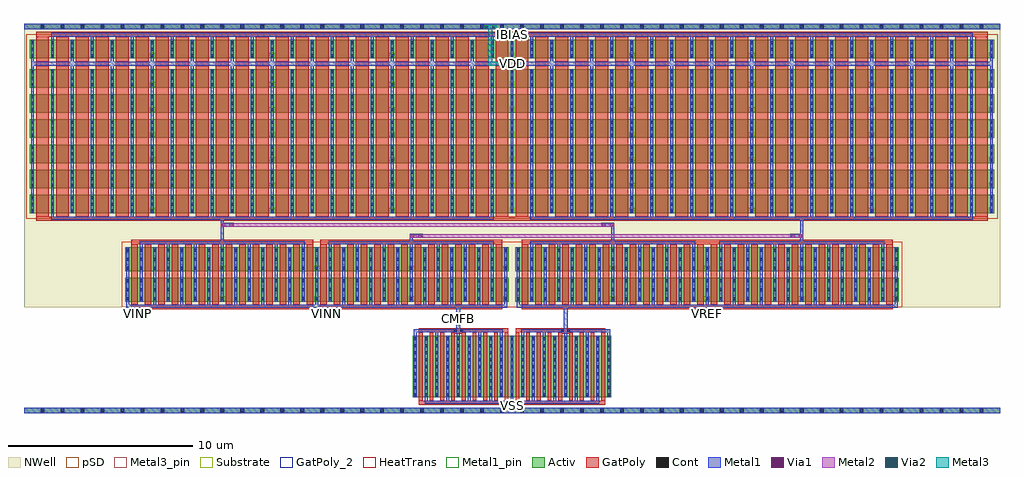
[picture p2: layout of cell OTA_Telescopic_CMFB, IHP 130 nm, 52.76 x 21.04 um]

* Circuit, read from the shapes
.subckt OTA_Telescopic_CMFB CMFB IBIAS VDD VINN VINP VREF VSS
XM1 VSS CMFB CMFB VSS sg13_lv_nmos w=3.33u l=0.2u m=9
XM2 n1 n1 VSS VSS sg13_lv_nmos w=3.33u l=0.2u m=9
XM3 n2 IBIAS VDD VDD sg13_lv_pmos w=1u l=0.7u m=144
XM4 IBIAS IBIAS VDD VDD sg13_lv_pmos w=1u l=0.7u m=48
XM5 n2 VINP CMFB VDD sg13_lv_pmos w=1.285u l=0.35u m=28
XM6 n3 VINN CMFB VDD sg13_lv_pmos w=1.285u l=0.35u m=28
XM7 n3 IBIAS VDD VDD sg13_lv_pmos w=1u l=0.7u m=144
XM8 n2 VREF n1 VDD sg13_lv_pmos w=1.285u l=0.35u m=28
XM9 n3 VREF n1 VDD sg13_lv_pmos w=1.285u l=0.35u m=28
.ends

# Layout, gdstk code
import gdstk
lib = gdstk.Library(unit=1e-6, precision=1e-09)
def R(c, l, rs):  # rectangles x0, y0, x1, y1
    for r in rs: c.add(gdstk.rectangle(r[:2], r[2:], *l))
def A(c, l, x, y, w, h, nx, ny, dx, dy):  # array of equal rectangles
    R(c, l, [(x+i*dx, y+j*dy, x+i*dx+w, y+j*dy+h) for i in range(nx) for j in range(ny)])
Activ = (1, 0)
GatPoly = (5, 0)
GatPoly_2 = (5, 2)
Cont = (6, 0)
Metal1 = (8, 0)
Metal1_pin = (8, 2)
Metal2 = (10, 0)
pSD = (14, 0)
Via1 = (19, 0)
Via2 = (29, 0)
Metal3 = (30, 0)
Metal3_pin = (30, 2)
NWell = (31, 0)
Substrate = (40, 0)
HeatTrans = (51, 0)

pmos_1 = lib.new_cell('pmos$1')
A(pmos_1, Activ, 0, 0, 0.3, 0.3, 8, 1, 0.73, 0)
R(pmos_1, Activ, [(0,0,5.41,1.285)])
A(pmos_1, GatPoly, 0.34, -0.18, 0.35, 1.645, 7, 1, 0.73, 0)
R(pmos_1, GatPoly, [(0.34,-0.18,0.69,1.465)])
A(pmos_1, Cont, 0.07, 0.07, 0.16, 0.16, 8, 2, 0.73, 0.49)
A(pmos_1, Cont, 0.07, 1.055, 0.16, 0.16, 8, 1, 0.73, 0)
A(pmos_1, Metal1, 0.8, 0, 0.16, 1.285, 7, 1, 0.73, 0)
R(pmos_1, Metal1, [(0.07,0,0.23,1.285), (0.07,0,0.23,1.285), (0.8,0,0.96,1.285)])
R(pmos_1, pSD, [(-0.18,-0.3,5.59,1.585)])
R(pmos_1, NWell, [(-0.31,-0.31,5.72,1.595)])
R(pmos_1, Substrate, [(5.11,0,5.41,0.3)])
A(pmos_1, HeatTrans, 0.34, -0.18, 0.35, 1.645, 7, 1, 0.73, 0)
pmos_1.add(gdstk.Label('pmos', (0.515,0.643), layer=63, texttype=0))
pmos_1.add(gdstk.Label('pmos', (0.515,0.643), layer=51, texttype=0))
pmos_1.add(gdstk.Label('pmos', (1.245,0.643), layer=51, texttype=0))
pmos_1.add(gdstk.Label('pmos', (1.975,0.643), layer=51, texttype=0))
pmos_1.add(gdstk.Label('pmos', (2.705,0.643), layer=51, texttype=0))
pmos_1.add(gdstk.Label('pmos', (3.435,0.643), layer=51, texttype=0))
pmos_1.add(gdstk.Label('pmos', (4.165,0.643), layer=51, texttype=0))
pmos_1.add(gdstk.Label('pmos', (4.895,0.643), layer=51, texttype=0))

nmos = lib.new_cell('nmos')
A(nmos, Activ, 0, 0, 0.3, 0.3, 10, 1, 0.58, 0)
R(nmos, Activ, [(0,0,5.52,3.33)])
A(nmos, GatPoly, 0.34, -0.18, 0.2, 3.69, 9, 1, 0.58, 0)
R(nmos, GatPoly_2, [(0.34,-0.18,0.54,3.51)])
A(nmos, Cont, 0.07, 0.07, 0.16, 0.16, 10, 2, 0.58, 0.375)
A(nmos, Cont, 0.07, 0.825, 0.16, 0.16, 10, 3, 0.58, 0.38)
A(nmos, Cont, 0.07, 1.96, 0.16, 0.16, 10, 4, 0.58, 0.38)
A(nmos, Metal1, 0.07, 0, 0.16, 3.33, 10, 1, 0.58, 0)
R(nmos, Metal1_pin, [(0.07,0,0.23,3.33), (0.65,0,0.81,3.33)])
A(nmos, HeatTrans, 0.34, -0.18, 0.2, 3.69, 9, 1, 0.58, 0)
nmos.add(gdstk.Label('nmos', (0.44,1.665), layer=63, texttype=0))
nmos.add(gdstk.Label('nmos', (0.44,1.665), layer=51, texttype=0))
nmos.add(gdstk.Label('nmos', (1.02,1.665), layer=51, texttype=0))
nmos.add(gdstk.Label('nmos', (1.6,1.665), layer=51, texttype=0))
nmos.add(gdstk.Label('nmos', (2.18,1.665), layer=51, texttype=0))
nmos.add(gdstk.Label('nmos', (2.76,1.665), layer=51, texttype=0))
nmos.add(gdstk.Label('nmos', (3.34,1.665), layer=51, texttype=0))
nmos.add(gdstk.Label('nmos', (3.92,1.665), layer=51, texttype=0))
nmos.add(gdstk.Label('nmos', (4.5,1.665), layer=51, texttype=0))
nmos.add(gdstk.Label('nmos', (5.08,1.665), layer=51, texttype=0))

pmos = lib.new_cell('pmos')
A(pmos, Activ, 0, 0, 0.3, 0.3, 7, 1, 1.08, 0)
R(pmos, Activ, [(0,0,6.78,1)])
A(pmos, GatPoly, 0.34, -0.18, 0.7, 1.36, 6, 1, 1.08, 0)
R(pmos, GatPoly, [(0.34,-0.18,1.04,1.18)])
A(pmos, Cont, 0.07, 0.07, 0.16, 0.16, 7, 3, 1.08, 0.35)
A(pmos, Metal1, 1.15, 0, 0.16, 1, 6, 1, 1.08, 0)
R(pmos, Metal1, [(0.07,0,0.23,1), (0.07,0,0.23,1), (1.15,0,1.31,1)])
R(pmos, pSD, [(-0.18,-0.3,6.96,1.3)])
R(pmos, NWell, [(-0.31,-0.31,7.09,1.31)])
R(pmos, Substrate, [(6.48,0,6.78,0.3)])
A(pmos, HeatTrans, 0.34, -0.18, 0.7, 1.36, 6, 1, 1.08, 0)
pmos.add(gdstk.Label('pmos', (0.69,0.5), layer=63, texttype=0))
pmos.add(gdstk.Label('pmos', (0.69,0.5), layer=51, texttype=0))
pmos.add(gdstk.Label('pmos', (1.77,0.5), layer=51, texttype=0))
pmos.add(gdstk.Label('pmos', (2.85,0.5), layer=51, texttype=0))
pmos.add(gdstk.Label('pmos', (3.93,0.5), layer=51, texttype=0))
pmos.add(gdstk.Label('pmos', (5.01,0.5), layer=51, texttype=0))
pmos.add(gdstk.Label('pmos', (6.09,0.5), layer=51, texttype=0))

m1_bar2 = lib.new_cell('M1_Bar2')
R(m1_bar2, Metal1, [(-0.078,-4.355,0.082,4.805)])

m1_routings2 = lib.new_cell('M1_Routings2')
r = gdstk.Reference(m1_bar2, (-0.007,-0.05)); r.repetition = gdstk.Repetition(25, 1, v1=(2.16,0), v2=(0,0)); m1_routings2.add(r)

m1_bar3 = lib.new_cell('M1_Bar3')
R(m1_bar3, Metal1, [(-0.05,-0.1,0.11,0.08)])

m1_routings3 = lib.new_cell('M1_Routings3')
r = gdstk.Reference(m1_bar3, (0.025,-0.245)); r.repetition = gdstk.Repetition(24, 1, v1=(2.16,0), v2=(0,0)); m1_routings3.add(r)

m1_routings6 = lib.new_cell('M1_Routings6')
r = gdstk.Reference(m1_bar3, (-0.035,0.04)); r.repetition = gdstk.Repetition(5, 1, v1=(1.16,0), v2=(0,0)); m1_routings6.add(r)

poly_bar1 = lib.new_cell('Poly_Bar1')
R(poly_bar1, GatPoly, [(-0.368,-0.085,0.332,0.125)])

poly_routings1 = lib.new_cell('Poly_Routings1')
r = gdstk.Reference(poly_bar1, (0,0)); r.repetition = gdstk.Repetition(48, 1, v1=(1.08,0), v2=(0,0)); poly_routings1.add(r)

via_stack_4 = lib.new_cell('via_stack$4')
R(via_stack_4, GatPoly, [(-0.32,-0.15,0.32,0.15)])
R(via_stack_4, Cont, [(-0.25,-0.08,-0.09,0.08), (0.09,-0.08,0.25,0.08)])
R(via_stack_4, Metal1, [(-0.35,-0.105,0.35,0.105)])
R(via_stack_4, Metal2, [(-0.35,-0.1,0.35,0.1)])
R(via_stack_4, Via1, [(-0.3,-0.095,-0.11,0.095), (0.11,-0.095,0.3,0.095)])
R(via_stack_4, Via2, [(-0.3,-0.095,-0.11,0.095), (0.11,-0.095,0.3,0.095)])
R(via_stack_4, Metal3, [(-0.35,-0.1,0.35,0.1)])

via_stack_7 = lib.new_cell('via_stack$7')
R(via_stack_7, Metal1, [(-0.35,-0.105,0.35,0.105)])
R(via_stack_7, Metal2, [(-0.35,-0.1,0.35,0.1)])
R(via_stack_7, Via1, [(-0.3,-0.095,-0.11,0.095), (0.11,-0.095,0.3,0.095)])
R(via_stack_7, Via2, [(-0.3,-0.095,-0.11,0.095), (0.11,-0.095,0.3,0.095)])
R(via_stack_7, Metal3, [(-0.35,-0.1,0.35,0.1)])

m1_cont1 = lib.new_cell('M1_Cont1')
R(m1_cont1, Cont, [(-0.09,-0.105,0.11,0.095)])

m1_bulkcont1 = lib.new_cell('M1_BulkCont1')
r = gdstk.Reference(m1_cont1, (0.005,0.01)); r.repetition = gdstk.Repetition(48, 1, v1=(1.08,0), v2=(0,0)); m1_bulkcont1.add(r)

m1_bar1 = lib.new_cell('M1_Bar1')
R(m1_bar1, Metal1, [(-0.078,-3.765,0.082,4.215)])

m1_routings1 = lib.new_cell('M1_Routings1')
r = gdstk.Reference(m1_bar1, (0,-0.155)); r.repetition = gdstk.Repetition(12, 1, v1=(2.16,0), v2=(0,0)); m1_routings1.add(r)

via_stack_2 = lib.new_cell('via_stack$2')
R(via_stack_2, GatPoly, [(-0.32,-0.15,0.32,0.15)])
R(via_stack_2, Cont, [(-0.25,-0.08,-0.09,0.08), (0.09,-0.08,0.25,0.08)])
R(via_stack_2, Metal1, [(-0.3,-0.08,0.3,0.08)])

m1_bar4 = lib.new_cell('M1_Bar4')
R(m1_bar4, Metal1, [(-0.073,-1.5,0.087,1.61)])

m1_routings4 = lib.new_cell('M1_Routings4')
r = gdstk.Reference(m1_bar4, (0,0.02)); r.repetition = gdstk.Repetition(8, 1, v1=(1.46,0), v2=(0,0)); m1_routings4.add(r)

m1_routings5 = lib.new_cell('M1_Routings5')
r = gdstk.Reference(m1_bar4, (0,0.01)); r.repetition = gdstk.Repetition(7, 1, v1=(1.46,0), v2=(0,0)); m1_routings5.add(r)

via_stack = lib.new_cell('via_stack')
R(via_stack, Metal1, [(-0.35,-0.105,0.35,0.105)])
R(via_stack, Metal2, [(-0.35,-0.1,0.35,0.1)])
R(via_stack, Via1, [(-0.3,-0.095,-0.11,0.095), (0.11,-0.095,0.3,0.095)])

via_stack_6 = lib.new_cell('via_stack$6')
R(via_stack_6, Metal1, [(-0.105,-0.35,0.105,0.35)])
R(via_stack_6, Metal2, [(-0.1,-0.35,0.1,0.35)])
R(via_stack_6, Via1, [(-0.095,-0.3,0.095,-0.11), (-0.095,0.11,0.095,0.3)])
R(via_stack_6, Via2, [(-0.095,-0.3,0.095,-0.11), (-0.095,0.11,0.095,0.3)])
R(via_stack_6, Metal3, [(-0.1,-0.35,0.1,0.35)])

ota_telescopic_cmfb = lib.new_cell('OTA_Telescopic_CMFB')
R(ota_telescopic_cmfb, Activ, [(7.8,-0.85,60.56,-0.55), (7.8,-0.85,60.56,-0.55), (7.8,19.89,60.56,20.19)])
R(ota_telescopic_cmfb, GatPoly, [(29.15,-0.41,33.99,-0.18), (34.37,-0.41,39.21,-0.18), (29.15,3.51,33.99,3.74), (34.37,3.51,39.21,3.74), (13.6,4.7,14.24,4.765), (23.82,4.7,24.46,4.765), (44.41,4.7,45.05,4.765), (13.6,4.765,23.44,4.995), (23.82,4.765,33.66,4.995), (34.7,4.765,54.76,4.995), (13.6,8.285,23.44,8.515), (23.82,8.285,33.66,8.515), (34.7,8.285,54.76,8.515), (8.45,9.54,59.91,9.77), (8.45,19.5,33.86,19.755), (34.5,19.5,59.91,19.755)])
R(ota_telescopic_cmfb, Metal1, [(7.8,-0.85,60.56,-0.55), (29.46,-0.34,38.9,-0.18), (28.88,3.51,33.68,3.67), (34.68,3.51,39.48,3.67), (36.975,3.669,37.185,4.835), (31.175,3.67,31.385,4.836), (13.33,4.835,33.93,4.995), (34.43,4.835,55.03,4.995), (14.06,8.285,22.98,8.445), (24.28,8.285,33.2,8.445), (35.16,8.285,44.08,8.445), (45.38,8.285,54.3,8.445), (18.44,8.445,18.6,9.27), (28.66,8.445,28.82,8.625), (39.54,8.445,39.7,9.27), (49.76,8.445,49.92,8.625), (49.76,8.785,49.92,9.61), (18.44,9.43,18.6,9.61), (9.26,9.61,33.18,9.77), (35.18,9.61,59.1,9.77), (8.18,17.93,60.18,18.14), (9.26,19.5,59.1,19.71), (7.8,19.89,60.56,20.19)])
R(ota_telescopic_cmfb, Metal1_pin, [(7.8,-0.85,60.56,-0.55), (7.8,19.89,60.56,20.19)])
R(ota_telescopic_cmfb, Metal2, [(28.84,8.63,49.74,8.83), (18.62,9.225,39.52,9.425)])
R(ota_telescopic_cmfb, pSD, [(7.8,-0.85,60.56,-0.55)])
R(ota_telescopic_cmfb, Metal3, [(32.903,17.935,33.83,18.135), (32.903,17.935,33.103,19.94)])
R(ota_telescopic_cmfb, Metal3_pin, [(33.83,-0.545,34.53,-0.345), (33.83,-0.545,34.53,-0.345), (31.18,3.9,31.38,4.6), (13.57,4.45,14.27,4.65), (23.79,4.45,24.49,4.65), (44.38,4.45,45.08,4.65), (33.83,17.935,34.53,18.135), (33.83,19.505,34.53,19.705)])
R(ota_telescopic_cmfb, NWell, [(7.8,4.865,12.95,9.64), (55.41,4.865,60.56,9.64), (12.95,8.415,55.41,9.64), (7.8,19.63,60.56,20.19)])
ota_telescopic_cmfb.add(gdstk.Reference(pmos_1, (28.59,5.175)))
ota_telescopic_cmfb.add(gdstk.Reference(nmos, (28.81,0)))
ota_telescopic_cmfb.add(gdstk.Reference(nmos, (34.03,0)))
ota_telescopic_cmfb.add(gdstk.Reference(pmos_1, (34.36,6.82)))
ota_telescopic_cmfb.add(gdstk.Reference(pmos_1, (28.59,6.82)))
ota_telescopic_cmfb.add(gdstk.Reference(pmos_1, (34.36,5.175)))
ota_telescopic_cmfb.add(gdstk.Reference(pmos, (34.03,9.95)))
ota_telescopic_cmfb.add(gdstk.Reference(pmos, (34.03,12.67)))
ota_telescopic_cmfb.add(gdstk.Reference(pmos, (34.03,15.39)))
ota_telescopic_cmfb.add(gdstk.Reference(pmos, (34.03,11.31)))
ota_telescopic_cmfb.add(gdstk.Reference(pmos, (34.03,14.03)))
ota_telescopic_cmfb.add(gdstk.Reference(pmos, (34.03,16.75)))
ota_telescopic_cmfb.add(gdstk.Reference(pmos, (27.55,15.39)))
ota_telescopic_cmfb.add(gdstk.Reference(pmos, (27.55,9.95)))
ota_telescopic_cmfb.add(gdstk.Reference(pmos, (27.55,12.67)))
ota_telescopic_cmfb.add(gdstk.Reference(pmos, (27.55,16.75)))
ota_telescopic_cmfb.add(gdstk.Reference(pmos, (27.55,11.31)))
ota_telescopic_cmfb.add(gdstk.Reference(pmos, (27.55,14.03)))
ota_telescopic_cmfb.add(gdstk.Reference(m1_routings2, (8.265,14.355)))
ota_telescopic_cmfb.add(gdstk.Reference(pmos, (27.55,18.32)))
ota_telescopic_cmfb.add(gdstk.Reference(pmos, (34.03,18.32)))
ota_telescopic_cmfb.add(gdstk.Reference(m1_routings3, (9.285,19.665)))
ota_telescopic_cmfb.add(gdstk.Reference(m1_routings6, (29.545,-0.12)))
ota_telescopic_cmfb.add(gdstk.Reference(m1_routings6, (34.185,-0.12)))
ota_telescopic_cmfb.add(gdstk.Reference(poly_routings1, (8.818,18.015)))
ota_telescopic_cmfb.add(gdstk.Reference(via_stack_4, (34.18,19.605)))
ota_telescopic_cmfb.add(gdstk.Reference(via_stack_7, (34.18,-0.445)))
ota_telescopic_cmfb.add(gdstk.Reference(via_stack_7, (34.18,18.035)))
ota_telescopic_cmfb.add(gdstk.Reference(pmos, (46.99,9.95)))
ota_telescopic_cmfb.add(gdstk.Reference(pmos, (53.47,9.95)))
ota_telescopic_cmfb.add(gdstk.Reference(pmos, (40.51,9.95)))
ota_telescopic_cmfb.add(gdstk.Reference(pmos, (14.59,9.95)))
ota_telescopic_cmfb.add(gdstk.Reference(pmos, (8.11,9.95)))
ota_telescopic_cmfb.add(gdstk.Reference(pmos, (21.07,9.95)))
ota_telescopic_cmfb.add(gdstk.Reference(m1_bulkcont1, (8.785,20.035)))
ota_telescopic_cmfb.add(gdstk.Reference(m1_bulkcont1, (8.785,-0.705)))
ota_telescopic_cmfb.add(gdstk.Reference(m1_routings1, (35.258,13.69)))
ota_telescopic_cmfb.add(gdstk.Reference(pmos, (40.51,18.32)))
ota_telescopic_cmfb.add(gdstk.Reference(pmos, (53.47,11.31)))
ota_telescopic_cmfb.add(gdstk.Reference(pmos, (53.47,18.32)))
ota_telescopic_cmfb.add(gdstk.Reference(pmos, (46.99,18.32)))
ota_telescopic_cmfb.add(gdstk.Reference(pmos, (40.51,15.39)))
ota_telescopic_cmfb.add(gdstk.Reference(pmos, (46.99,15.39)))
ota_telescopic_cmfb.add(gdstk.Reference(pmos, (53.47,15.39)))
ota_telescopic_cmfb.add(gdstk.Reference(pmos, (40.51,12.67)))
ota_telescopic_cmfb.add(gdstk.Reference(pmos, (46.99,12.67)))
ota_telescopic_cmfb.add(gdstk.Reference(pmos, (53.47,12.67)))
ota_telescopic_cmfb.add(gdstk.Reference(pmos, (46.99,16.75)))
ota_telescopic_cmfb.add(gdstk.Reference(pmos, (53.47,16.75)))
ota_telescopic_cmfb.add(gdstk.Reference(pmos, (40.51,14.03)))
ota_telescopic_cmfb.add(gdstk.Reference(pmos, (46.99,14.03)))
ota_telescopic_cmfb.add(gdstk.Reference(pmos, (53.47,14.03)))
ota_telescopic_cmfb.add(gdstk.Reference(pmos, (40.51,11.31)))
ota_telescopic_cmfb.add(gdstk.Reference(pmos, (40.51,16.75)))
ota_telescopic_cmfb.add(gdstk.Reference(pmos, (46.99,11.31)))
ota_telescopic_cmfb.add(gdstk.Reference(pmos, (21.07,18.32)))
ota_telescopic_cmfb.add(gdstk.Reference(pmos, (14.59,15.39)))
ota_telescopic_cmfb.add(gdstk.Reference(pmos, (8.11,18.32)))
ota_telescopic_cmfb.add(gdstk.Reference(pmos, (14.59,18.32)))
ota_telescopic_cmfb.add(gdstk.Reference(pmos, (21.07,12.67)))
ota_telescopic_cmfb.add(gdstk.Reference(pmos, (14.59,12.67)))
ota_telescopic_cmfb.add(gdstk.Reference(pmos, (8.11,12.67)))
ota_telescopic_cmfb.add(gdstk.Reference(pmos, (8.11,15.39)))
ota_telescopic_cmfb.add(gdstk.Reference(pmos, (21.07,16.75)))
ota_telescopic_cmfb.add(gdstk.Reference(pmos, (14.59,16.75)))
ota_telescopic_cmfb.add(gdstk.Reference(pmos, (21.07,15.39)))
ota_telescopic_cmfb.add(gdstk.Reference(pmos, (21.07,11.31)))
ota_telescopic_cmfb.add(gdstk.Reference(pmos, (8.11,16.75)))
ota_telescopic_cmfb.add(gdstk.Reference(pmos, (14.59,11.31)))
ota_telescopic_cmfb.add(gdstk.Reference(pmos, (8.11,11.31)))
ota_telescopic_cmfb.add(gdstk.Reference(pmos, (21.07,14.03)))
ota_telescopic_cmfb.add(gdstk.Reference(pmos, (14.59,14.03)))
ota_telescopic_cmfb.add(gdstk.Reference(pmos, (8.11,14.03)))
ota_telescopic_cmfb.add(gdstk.Reference(via_stack_7, (33.005,20.04)))
ota_telescopic_cmfb.add(gdstk.Reference(m1_routings1, (9.338,13.69)))
ota_telescopic_cmfb.add(gdstk.Reference(via_stack_2, (31.28,3.59)))
ota_telescopic_cmfb.add(gdstk.Reference(m1_routings4, (23.623,6.475)))
ota_telescopic_cmfb.add(gdstk.Reference(m1_routings5, (24.353,6.665)))
ota_telescopic_cmfb.add(gdstk.Reference(m1_routings4, (13.403,6.475)))
ota_telescopic_cmfb.add(gdstk.Reference(m1_routings5, (14.133,6.665)))
ota_telescopic_cmfb.add(gdstk.Reference(via_stack, (29.01,8.73)))
ota_telescopic_cmfb.add(gdstk.Reference(via_stack, (18.79,9.325)))
ota_telescopic_cmfb.add(gdstk.Reference(via_stack_4, (13.92,4.55)))
ota_telescopic_cmfb.add(gdstk.Reference(via_stack_4, (24.14,4.55)))
ota_telescopic_cmfb.add(gdstk.Reference(via_stack_6, (31.28,4.25)))
ota_telescopic_cmfb.add(gdstk.Reference(pmos_1, (23.48,5.175)))
ota_telescopic_cmfb.add(gdstk.Reference(m1_routings6, (28.965,3.39)))
ota_telescopic_cmfb.add(gdstk.Reference(pmos_1, (23.48,6.82)))
ota_telescopic_cmfb.add(gdstk.Reference(pmos_1, (13.26,5.175)))
ota_telescopic_cmfb.add(gdstk.Reference(pmos_1, (18.37,5.175)))
ota_telescopic_cmfb.add(gdstk.Reference(pmos_1, (13.26,6.82)))
ota_telescopic_cmfb.add(gdstk.Reference(pmos_1, (18.37,6.82)))
ota_telescopic_cmfb.add(gdstk.Reference(via_stack, (49.57,8.73)))
ota_telescopic_cmfb.add(gdstk.Reference(via_stack, (39.35,9.325)))
ota_telescopic_cmfb.add(gdstk.Reference(pmos_1, (39.47,5.175)))
ota_telescopic_cmfb.add(gdstk.Reference(pmos_1, (49.69,5.175)))
ota_telescopic_cmfb.add(gdstk.Reference(pmos_1, (44.58,5.175)))
ota_telescopic_cmfb.add(gdstk.Reference(via_stack_2, (37.08,3.59)))
ota_telescopic_cmfb.add(gdstk.Reference(via_stack_4, (44.73,4.55)))
ota_telescopic_cmfb.add(gdstk.Reference(m1_routings4, (44.723,6.475)))
ota_telescopic_cmfb.add(gdstk.Reference(m1_routings5, (45.453,6.665)))
ota_telescopic_cmfb.add(gdstk.Reference(m1_routings4, (34.503,6.475)))
ota_telescopic_cmfb.add(gdstk.Reference(m1_routings5, (35.233,6.665)))
ota_telescopic_cmfb.add(gdstk.Reference(m1_routings6, (34.765,3.39)))
ota_telescopic_cmfb.add(gdstk.Reference(pmos_1, (49.69,6.82)))
ota_telescopic_cmfb.add(gdstk.Reference(pmos_1, (44.58,6.82)))
ota_telescopic_cmfb.add(gdstk.Reference(pmos_1, (39.47,6.82)))
ota_telescopic_cmfb.add(gdstk.Label('VSS', (34.18,-0.445), layer=30, texttype=25))
ota_telescopic_cmfb.add(gdstk.Label('VINP', (13.92,4.55), layer=30, texttype=25))
ota_telescopic_cmfb.add(gdstk.Label('VINN', (24.14,4.55), layer=30, texttype=25))
ota_telescopic_cmfb.add(gdstk.Label('CMFB', (31.28,4.25), layer=30, texttype=25))
ota_telescopic_cmfb.add(gdstk.Label('VREF', (44.73,4.55), layer=30, texttype=25))
ota_telescopic_cmfb.add(gdstk.Label('VDD', (34.18,18.035), layer=30, texttype=25))
ota_telescopic_cmfb.add(gdstk.Label('IBIAS', (34.18,19.605), layer=30, texttype=25))

lib.write_gds('OTA_Telescopic_CMFB.gds')
